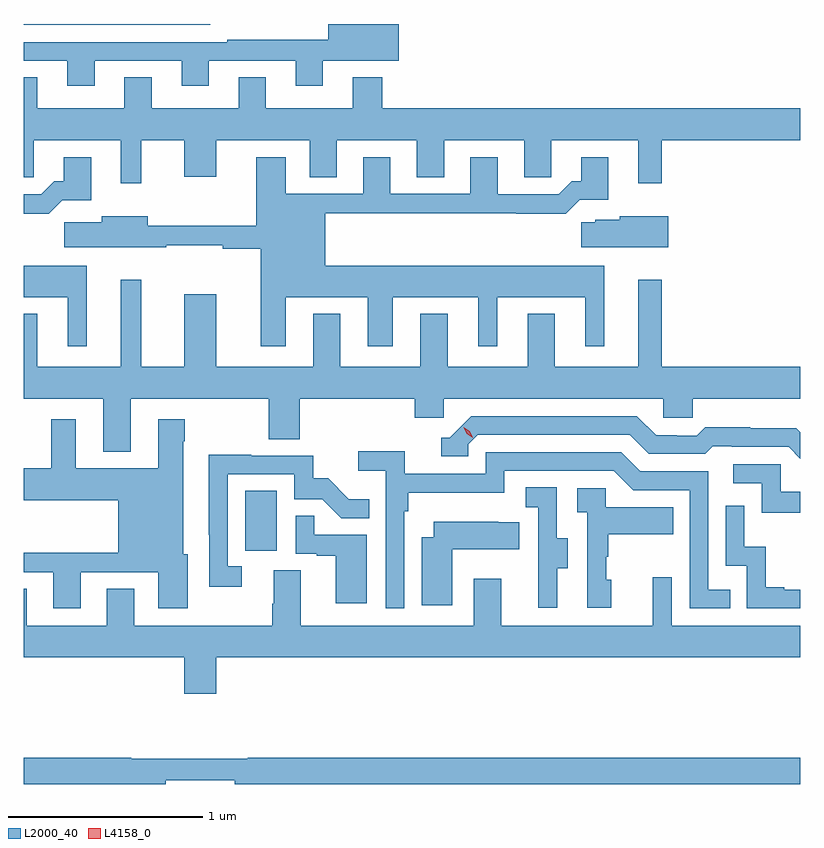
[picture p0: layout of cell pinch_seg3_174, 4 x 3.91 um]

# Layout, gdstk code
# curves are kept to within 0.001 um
import gdstk
lib = gdstk.Library(unit=1e-6, precision=1e-09)
def R(c, l, rs):  # rectangles x0, y0, x1, y1
    for r in rs: c.add(gdstk.rectangle(r[:2], r[2:], *l))
def P(c, l, *ps):  # polygons
    for p in ps: c.add(gdstk.Polygon(p, *l))
L2000_40 = (2000, 40)
L4158_0 = (4158, 0)

pinch_seg3_174 = lib.new_cell('pinch_seg3_174')
R(pinch_seg3_174, L2000_40, [(1004.48,732.102,1004.644,732.409), (1003.34,734.81,1004.302,734.814)])
P(pinch_seg3_174, L2000_40, [(1003.705,734.625),(1004.153,734.625),(1004.153,734.496),(1004.293,734.496),(1004.293,734.625),(1004.741,734.625),(1004.741,734.496),(1004.881,734.496),(1004.881,734.624),(1005.271,734.624),(1005.271,734.814),(1004.909,734.814),(1004.909,734.734),(1004.389,734.734),(1004.389,734.721),(1003.34,734.721),(1003.34,734.625),(1003.565,734.625),(1003.565,734.496),(1003.705,734.496)],
  [(1003.859,734.38),(1003.411,734.38),(1003.411,734.54),(1003.34,734.54),(1003.34,734.026),(1003.392,734.026),(1003.392,734.216),(1003.841,734.216),(1003.841,733.995),(1003.945,733.995),(1003.945,734.216),(1004.168,734.216),(1004.168,734.028),(1004.332,734.028),(1004.332,734.216),(1004.813,734.216),(1004.813,734.026),(1004.953,734.026),(1004.953,734.216),(1005.365,734.216),(1005.365,734.026),(1005.505,734.026),(1005.505,734.216),(1005.917,734.216),(1005.917,734.026),(1006.056,734.026),(1006.056,734.216),(1006.505,734.216),(1006.505,733.995),(1006.627,733.995),(1006.627,734.216),(1007.34,734.216),(1007.34,734.38),(1005.188,734.38),(1005.188,734.539),(1005.035,734.539),(1005.035,734.38),(1004.587,734.38),(1004.587,734.54),(1004.447,734.54),(1004.447,734.38),(1003.999,734.38),(1003.999,734.54),(1003.859,734.54)],
  [(1003.538,733.907),(1003.687,733.907),(1003.687,734.128),(1003.547,734.128),(1003.547,734.005),(1003.498,734.005),(1003.431,733.938),(1003.34,733.938),(1003.34,733.838),(1003.469,733.838)],
  [(1004.689,733.406),(1005.113,733.406),(1005.113,733.155),(1005.241,733.155),(1005.241,733.406),(1005.68,733.406),(1005.68,733.155),(1005.778,733.155),(1005.778,733.406),(1006.232,733.406),(1006.232,733.155),(1006.33,733.155),(1006.33,733.57),(1004.893,733.57),(1004.893,733.84),(1005.877,733.84),(1005.877,733.838),(1006.133,733.838),(1006.203,733.908),(1006.351,733.908),(1006.351,734.128),(1006.211,734.128),(1006.211,734.005),(1006.162,734.005),(1006.095,733.938),(1005.781,733.938),(1005.781,734.128),(1005.641,734.128),(1005.641,733.941),(1005.229,733.941),(1005.229,734.128),(1005.089,734.128),(1005.089,733.941),(1004.689,733.941),(1004.689,734.128),(1004.537,734.128),(1004.537,733.776),(1003.978,733.776),(1003.978,733.825),(1003.742,733.825),(1003.742,733.793),(1003.548,733.793),(1003.548,733.664),(1004.074,733.664),(1004.074,733.675),(1004.365,733.675),(1004.365,733.657),(1004.561,733.657),(1004.561,733.155),(1004.689,733.155)],
  [(1006.66,733.825),(1006.41,733.825),(1006.41,733.807),(1006.284,733.807),(1006.284,733.793),(1006.212,733.793),(1006.212,733.664),(1006.66,733.664)],
  [(1003.666,733.57),(1003.34,733.57),(1003.34,733.406),(1003.568,733.406),(1003.568,733.155),(1003.666,733.155)],
  [(1003.891,732.884),(1004.602,732.884),(1004.602,732.676),(1004.762,732.676),(1004.762,732.884),(1005.353,732.884),(1005.353,732.786),(1005.504,732.786),(1005.504,732.884),(1006.635,732.884),(1006.635,732.786),(1006.785,732.786),(1006.785,732.884),(1007.34,732.884),(1007.34,733.048),(1006.627,733.048),(1006.627,733.498),(1006.505,733.498),(1006.505,733.048),(1006.075,733.048),(1006.075,733.321),(1005.935,733.321),(1005.935,733.048),(1005.523,733.048),(1005.523,733.321),(1005.383,733.321),(1005.383,733.048),(1004.971,733.048),(1004.971,733.321),(1004.831,733.321),(1004.831,733.048),(1004.332,733.048),(1004.332,733.423),(1004.168,733.423),(1004.168,733.048),(1003.945,733.048),(1003.945,733.498),(1003.841,733.498),(1003.841,733.048),(1003.411,733.048),(1003.411,733.321),(1003.34,733.321),(1003.34,732.884),(1003.751,732.884),(1003.751,732.611),(1003.891,732.611)],
  [(1007.34,732.711),(1007.318,732.733),(1007.082,732.733),(1007.082,732.736),(1006.849,732.736),(1006.807,732.693),(1006.704,732.693),(1006.704,732.696),(1006.597,732.696),(1006.498,732.795),(1005.645,732.795),(1005.534,732.684),(1005.491,732.684),(1005.491,732.588),(1005.63,732.588),(1005.63,732.651),(1005.678,732.699),(1006.461,732.699),(1006.56,732.6),(1006.849,732.6),(1006.888,732.639),(1006.987,732.639),(1006.987,732.636),(1007.28,732.636),(1007.34,732.576)],
  [(1003.633,731.991),(1004.033,731.991),(1004.033,731.805),(1004.185,731.805),(1004.185,732.084),(1004.161,732.084),(1004.161,732.665),(1004.169,732.665),(1004.169,732.778),(1004.033,732.778),(1004.033,732.526),(1003.609,732.526),(1003.609,732.778),(1003.481,732.778),(1003.481,732.526),(1003.34,732.526),(1003.34,732.362),(1003.826,732.362),(1003.826,732.092),(1003.34,732.092),(1003.34,731.991),(1003.493,731.991),(1003.493,731.805),(1003.633,731.805)],
  [(1005.3,732.305),(1005.32,732.305),(1005.32,732.401),(1005.816,732.401),(1005.816,732.513),(1006.38,732.513),(1006.479,732.414),(1006.77,732.414),(1006.77,731.805),(1006.979,731.805),(1006.979,731.901),(1006.866,731.901),(1006.866,732.51),(1006.516,732.51),(1006.417,732.609),(1005.72,732.609),(1005.72,732.498),(1005.302,732.498),(1005.302,732.614),(1005.063,732.614),(1005.063,732.512),(1005.204,732.512),(1005.204,731.805),(1005.3,731.805)],
  [(1004.464,732.021),(1004.391,732.021),(1004.391,732.495),(1004.733,732.495),(1004.733,732.366),(1004.877,732.366),(1004.975,732.268),(1005.119,732.268),(1005.119,732.367),(1005.015,732.367),(1004.908,732.474),(1004.832,732.474),(1004.832,732.591),(1004.513,732.591),(1004.513,732.596),(1004.294,732.596),(1004.295,731.916),(1004.464,731.916)],
  [(1007.34,732.405),(1007.238,732.405),(1007.238,732.546),(1006.995,732.546),(1006.995,732.45),(1007.142,732.45),(1007.142,732.297),(1007.34,732.297)],
  [(1006.087,732.01),(1006.141,732.01),(1006.141,732.165),(1006.086,732.165),(1006.086,732.428),(1005.927,732.428),(1005.927,732.325),(1005.99,732.325),(1005.99,732.021),(1005.989,732.021),(1005.989,731.808),(1006.087,731.808)],
  [(1006.366,731.952),(1006.341,731.952),(1006.341,732.071),(1006.351,732.071),(1006.351,732.185),(1006.685,732.185),(1006.685,732.325),(1006.338,732.325),(1006.338,732.423),(1006.191,732.423),(1006.191,732.299),(1006.242,732.299),(1006.242,731.808),(1006.366,731.808)],
  [(1007.34,731.901),(1007.257,731.901),(1007.257,731.914),(1007.162,731.914),(1007.162,732.122),(1007.052,732.122),(1007.052,732.334),(1006.956,732.334),(1006.956,732.024),(1007.064,732.024),(1007.064,731.805),(1007.34,731.805)],
  [(1005.106,732.183),(1004.837,732.183),(1004.837,732.281),(1004.742,732.281),(1004.742,732.087),(1004.849,732.087),(1004.849,732.075),(1004.948,732.075),(1004.948,731.832),(1005.106,731.832)],
  [(1005.547,732.11),(1005.893,732.11),(1005.893,732.247),(1005.785,732.247),(1005.785,732.25),(1005.453,732.25),(1005.453,732.172),(1005.389,732.172),(1005.389,731.82),(1005.547,731.82)],
  [(1007.34,731.716),(1006.677,731.716),(1006.677,731.965),(1006.58,731.965),(1006.58,731.716),(1005.799,731.716),(1005.799,731.956),(1005.659,731.956),(1005.659,731.716),(1004.767,731.716),(1004.767,732.002),(1004.627,732.002),(1004.627,731.828),(1004.62,731.828),(1004.62,731.716),(1003.909,731.716),(1003.909,731.906),(1003.769,731.906),(1003.769,731.716),(1003.357,731.716),(1003.357,731.906),(1003.34,731.906),(1003.34,731.552),(1004.168,731.552),(1004.168,731.364),(1004.332,731.364),(1004.332,731.552),(1007.34,731.552)],
  [(1004.072,730.919),(1004.428,730.919),(1004.428,730.9),(1007.34,730.9),(1007.34,731.036),(1004.495,731.036),(1004.495,731.029),(1003.895,731.029),(1003.895,731.036),(1003.34,731.036),(1003.34,730.9),(1004.072,730.9)])
P(pinch_seg3_174, L4158_0, [(1005.653,732.684),(1005.623,732.704),(1005.607,732.737),(1005.607,732.737),(1005.607,732.737),(1005.638,732.717),(1005.654,732.685),(1005.654,732.684)])

lib.write_gds('pinch_seg3_174.gds')
